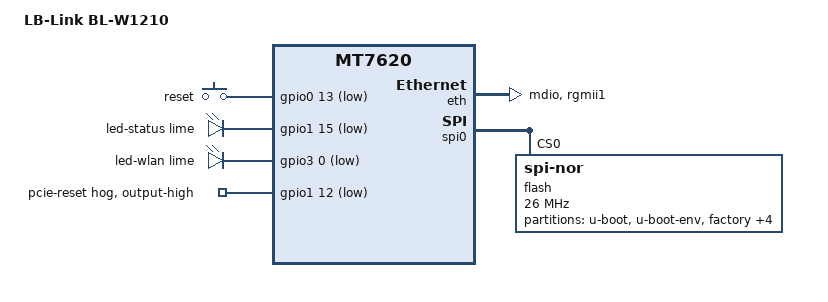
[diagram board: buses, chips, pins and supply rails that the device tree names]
// SPDX-License-Identifier: GPL-2.0-or-later

/dts-v1/;

#include "mt7620.dtsi"

#include <dt-bindings/gpio/gpio.h>
#include <dt-bindings/input/input.h>
#include <dt-bindings/leds/common.h>

/ {
	compatible = "lb-link,bl-w1210", "mediatek,mt7620-soc";
	model = "LB-Link BL-W1210";

	/delete-node/ clock-48m;
	/delete-node/ serial@10000500;
	/delete-node/ watchdog@10000120;
	/delete-node/ usb-phy;
	/delete-node/ ehci@101c0000;
	/delete-node/ mmc@10130000;

	aliases {
		serial0 = &uartlite;
		spi0 = &spi0;
	};

	chosen {
		stdout-path = "serial0:115200n8";
	};

	gpio-keys {
		compatible = "gpio-keys";

		button-reset {
			label = "reset";
			linux,code = <KEY_RESTART>;
			gpios = <&gpio0 13 GPIO_ACTIVE_LOW>;
		};
	};

	gpio-leds {
		compatible = "gpio-leds";

		led-status {
			color = <LED_COLOR_ID_LIME>;
			function = LED_FUNCTION_STATUS;
			gpios = <&gpio1 15 GPIO_ACTIVE_LOW>;
			default-state = "on";
		};

		led-wlan {
			color = <LED_COLOR_ID_LIME>;
			function = LED_FUNCTION_WLAN;
			gpios = <&gpio3 0 GPIO_ACTIVE_LOW>;
			default-state = "off";
		};
	};

	options {
		u-boot {
			compatible = "u-boot,config";
			boot-btn1 = "reset";
			boot-led1 = "lime:status";
			bootcmd_1-1 = "tftp_boot_ik";
			bootcmd_1-2 = "tftp_update_fw";
			bootcmd_1-3 = "switch_console";
			bootcmd_1-4 = "env init";
		};
	};
};

&eth {
	pinctrl-names = "default";
	pinctrl-0 = <&gsw_pins>;

	port5 {
		phy-addr = <5>;
		phy-mode = "rgmii";

		fixed-link {
			full-duplex;
			speed = <1000>;
			mediatek,mt7530;
			mediatek,mt7530-reset = <&gpio0 10 GPIO_ACTIVE_HIGH>;
		};
	};
};

&gpio1 {
	pcie-reset {
		gpio-hog;
		gpios = <12 GPIO_ACTIVE_LOW>;
		output-high;
	};
};

&pinctrl {
	/delete-node/ nand_pins;
	/delete-node/ sd_pins;
	/delete-node/ spi_dual_pins;
	/delete-node/ uartf_pins;
	/delete-node/ uartf_pcm_pins;
	/delete-node/ uartf_i2s_pins;
	/delete-node/ uartf_gpio_pins;

	gsw_pins: gsw_pins {
		mdio {
			groups = "mdio";
			function = "mdio";
		};

		rgmii1 {
			groups = "rgmii1";
			function = "rgmii1";
		};
	};
};

&spi0 {
	flash@0 {
		compatible = "jedec,spi-nor";
		reg = <0>;
		spi-max-frequency = <26000000>;

		partitions {
			compatible = "fixed-partitions";
			#address-cells = <1>;
			#size-cells = <1>;

			partition@0 {
				label = "u-boot";
				reg = <0x000000 0x030000>;
			};

			partition@30000 {
				label = "u-boot-env";
				reg = <0x030000 0x010000>;
			};

			partition@40000 {
				label = "factory";
				reg = <0x040000 0x010000>;
			};

			partition@50000 {
				label = "firmware";
				reg = <0x50000 0xf70000>;
			};

			partition@fc0000 {
				label = "oem";
				reg = <0xfc0000 0x020000>;
			};

			partition@fe0000 {
				label = "bdinfo";
				reg = <0xfe0000 0x010000>;
			};

			partition@ff0000 {
				label = "backup";
				reg = <0xff0000 0x010000>;
			};
		};
	};
};

&state_default {
	gpios {
		groups = "i2c", "uartf", "rgmii2", "perst", "nand", "pa", \
			 "wdt rst", "wled", "ephy led";
		function = "gpio";
	};
};
